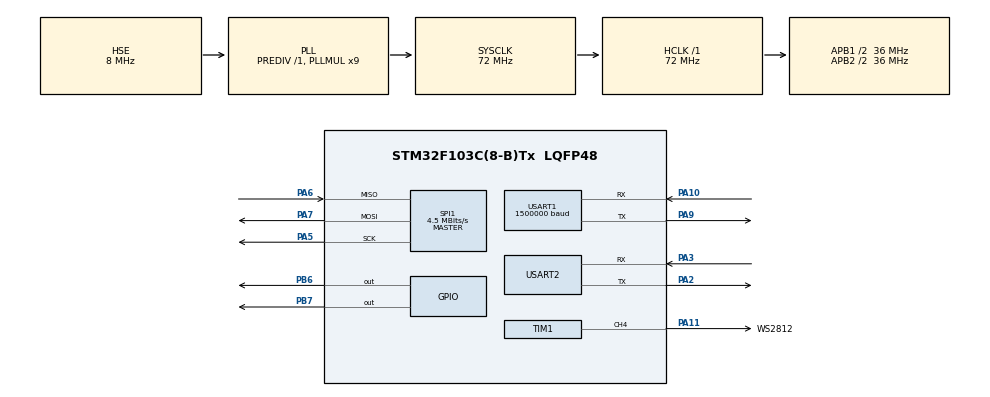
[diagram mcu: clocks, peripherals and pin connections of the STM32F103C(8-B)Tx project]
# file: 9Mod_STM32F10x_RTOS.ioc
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Dma.Request0=USART2_RX
Dma.Request1=TIM1_CH4/TRIG/COM
Dma.TIM1_CH4/TRIG/COM.1.Direction=DMA_MEMORY_TO_PERIPH
Dma.TIM1_CH4/TRIG/COM.1.Instance=DMA1_Channel4
Dma.TIM1_CH4/TRIG/COM.1.MemDataAlignment=DMA_MDATAALIGN_HALFWORD
Dma.TIM1_CH4/TRIG/COM.1.MemInc=DMA_MINC_ENABLE
Dma.TIM1_CH4/TRIG/COM.1.Mode=DMA_NORMAL
Dma.TIM1_CH4/TRIG/COM.1.PeriphDataAlignment=DMA_PDATAALIGN_HALFWORD
Dma.TIM1_CH4/TRIG/COM.1.PeriphInc=DMA_PINC_DISABLE
Dma.TIM1_CH4/TRIG/COM.1.Priority=DMA_PRIORITY_LOW
Dma.USART2_RX.0.Direction=DMA_PERIPH_TO_MEMORY
Dma.USART2_RX.0.Instance=DMA1_Channel6
Dma.USART2_RX.0.MemDataAlignment=DMA_MDATAALIGN_BYTE
Dma.USART2_RX.0.MemInc=DMA_MINC_ENABLE
Dma.USART2_RX.0.Mode=DMA_NORMAL
Dma.USART2_RX.0.PeriphDataAlignment=DMA_PDATAALIGN_BYTE
Dma.USART2_RX.0.PeriphInc=DMA_PINC_DISABLE
Dma.USART2_RX.0.Priority=DMA_PRIORITY_LOW
FREERTOS.Tasks01=defaultTask,24,256,StartDefaultTask,Default,NULL,Dynamic,NULL,NULL;sht3x_read,25,256,sht3x_read_task,Default,NULL,Dynamic,NULL,NULL
FREERTOS.configENABLE_FPU=1
FREERTOS.configMINIMAL_STACK_SIZE=128
FREERTOS.configTOTAL_HEAP_SIZE=4096
Mcu.Family=STM32F1
Mcu.Name=STM32F103C(8-B)Tx
Mcu.Package=LQFP48
NVIC.DMA1_Channel4_IRQn=true\:5\:0\:false\:false\:true\:true\:false\:true\:true
NVIC.DMA1_Channel6_IRQn=true\:5\:0\:false\:false\:true\:true\:false\:true\:true
NVIC.PriorityGroup=NVIC_PRIORITYGROUP_4
NVIC.TIM4_IRQn=true\:15\:0\:false\:false\:true\:false\:false\:true\:true
NVIC.TimeBase=TIM4_IRQn
NVIC.TimeBaseIP=TIM4
NVIC.USART2_IRQn=true\:5\:0\:false\:false\:true\:true\:true\:true\:true
PA10.Mode=Asynchronous
PA10.Signal=USART1_RX
PA11.GPIO_Label=WS2812
PA11.Signal=S_TIM1_CH4
PA13.Mode=Serial_Wire
PA13.Signal=SYS_JTMS-SWDIO
PA14.Mode=Serial_Wire
PA14.Signal=SYS_JTCK-SWCLK
PA2.Mode=Asynchronous
PA2.Signal=USART2_TX
PA3.Mode=Asynchronous
PA3.Signal=USART2_RX
PA5.Mode=Full_Duplex_Master
PA5.Signal=SPI1_SCK
PA6.Mode=Full_Duplex_Master
PA6.Signal=SPI1_MISO
PA7.Mode=Full_Duplex_Master
PA7.Signal=SPI1_MOSI
PA9.Mode=Asynchronous
PA9.Signal=USART1_TX
PB6.Signal=GPIO_Output
PB7.Signal=GPIO_Output
PD0-OSC_IN.Mode=HSE-External-Oscillator
PD0-OSC_IN.Signal=RCC_OSC_IN
PD1-OSC_OUT.Mode=HSE-External-Oscillator
PD1-OSC_OUT.Signal=RCC_OSC_OUT
ProjectManager.HeapSize=0x200
ProjectManager.StackSize=0x400
ProjectManager.TargetToolchain=CMake
RCC.AHBFreq_Value=72000000
RCC.APB1CLKDivider=RCC_HCLK_DIV2
RCC.APB1Freq_Value=36000000
RCC.APB1TimFreq_Value=72000000
RCC.APB2CLKDivider=RCC_HCLK_DIV2
RCC.APB2Freq_Value=36000000
RCC.APB2TimFreq_Value=72000000
RCC.HCLKFreq_Value=72000000
RCC.PLLMUL=RCC_PLL_MUL9
RCC.PLLSourceVirtual=RCC_PLLSOURCE_HSE
RCC.SYSCLKFreq_VALUE=72000000
RCC.SYSCLKSource=RCC_SYSCLKSOURCE_PLLCLK
RCC.USBFreq_Value=72000000
SH.S_TIM1_CH4.0=TIM1_CH4,PWM Generation4 CH4
SPI1.BaudRatePrescaler=SPI_BAUDRATEPRESCALER_8
SPI1.CalculateBaudRate=4.5 MBits/s
SPI1.Direction=SPI_DIRECTION_2LINES
SPI1.Mode=SPI_MODE_MASTER
SPI1.VirtualType=VM_MASTER
TIM1.Channel-PWM\ Generation4\ CH4=TIM_CHANNEL_4
USART1.BaudRate=1500000
USART1.VirtualMode=VM_ASYNC
USART2.VirtualMode=VM_ASYNC
VP_FREERTOS_VS_CMSIS_V2.Mode=CMSIS_V2
VP_SYS_VS_tim4.Mode=TIM4
board=custom

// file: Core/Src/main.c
/* USER CODE BEGIN Header */
/**
 ******************************************************************************
 * @file           : main.c
 * @brief          : Main program body
 ******************************************************************************
 * @attention
 *
 * Copyright (c) 2026 STMicroelectronics.
 * All rights reserved.
 *
 * This software is licensed under terms that can be found in the LICENSE file
 * in the root directory of this software component.
 * If no LICENSE file comes with this software, it is provided AS-IS.
 *
 ******************************************************************************
 */
/* USER CODE END Header */
#include "main.h"
#include "cmsis_os.h"
#include "dma.h"
#include "spi.h"
#include "tim.h"
#include "usart.h"
#include "gpio.h"

/* USER CODE BEGIN Includes */
#include "emMCP.h"
/* USER CODE END Includes */

void SystemClock_Config(void);
void MX_FREERTOS_Init(void);

int main(void)
{

  /* MCU Configuration--------------------------------------------------------*/

  /* Reset of all peripherals, Initializes the Flash interface and the Systick. */
  HAL_Init();

  /* Configure the system clock */
  SystemClock_Config();

  /* Initialize all configured peripherals */
  MX_GPIO_Init();
  MX_DMA_Init();
  MX_SPI1_Init();
  MX_USART1_UART_Init();
  MX_USART2_UART_Init();
  MX_TIM1_Init();
  /* USER CODE BEGIN 2 */

  emMCP_log_info("system start");
  /* USER CODE END 2 */

  /* Init scheduler */
  osKernelInitialize();  /* Call init function for freertos objects (in cmsis_os2.c) */
  MX_FREERTOS_Init();

  /* Start scheduler */
  osKernelStart();

  /* We should never get here as control is now taken by the scheduler */

  /* Infinite loop */
  while (1) {

  }
}

void SystemClock_Config(void)
{
  RCC_OscInitTypeDef RCC_OscInitStruct = {0};
  RCC_ClkInitTypeDef RCC_ClkInitStruct = {0};

  /** Initializes the RCC Oscillators according to the specified parameters
  * in the RCC_OscInitTypeDef structure.
  */
  RCC_OscInitStruct.OscillatorType = RCC_OSCILLATORTYPE_HSE;
  RCC_OscInitStruct.HSEState = RCC_HSE_ON;
  RCC_OscInitStruct.HSEPredivValue = RCC_HSE_PREDIV_DIV1;
  RCC_OscInitStruct.HSIState = RCC_HSI_ON;
  RCC_OscInitStruct.PLL.PLLState = RCC_PLL_ON;
  RCC_OscInitStruct.PLL.PLLSource = RCC_PLLSOURCE_HSE;
  RCC_OscInitStruct.PLL.PLLMUL = RCC_PLL_MUL9;
  if (HAL_RCC_OscConfig(&RCC_OscInitStruct) != HAL_OK)
  {
    Error_Handler();
  }

  /** Initializes the CPU, AHB and APB buses clocks
  */
  RCC_ClkInitStruct.ClockType = RCC_CLOCKTYPE_HCLK|RCC_CLOCKTYPE_SYSCLK
                              |RCC_CLOCKTYPE_PCLK1|RCC_CLOCKTYPE_PCLK2;
  RCC_ClkInitStruct.SYSCLKSource = RCC_SYSCLKSOURCE_PLLCLK;
  RCC_ClkInitStruct.AHBCLKDivider = RCC_SYSCLK_DIV1;
  RCC_ClkInitStruct.APB1CLKDivider = RCC_HCLK_DIV2;
  RCC_ClkInitStruct.APB2CLKDivider = RCC_HCLK_DIV2;

  if (HAL_RCC_ClockConfig(&RCC_ClkInitStruct, FLASH_LATENCY_2) != HAL_OK)
  {
    Error_Handler();
  }
}

void HAL_TIM_PeriodElapsedCallback(TIM_HandleTypeDef *htim)
{
  if (htim->Instance == TIM4)
  {
    HAL_IncTick();
  }
}

void Error_Handler(void)
{
  __disable_irq();
  while (1) {
  }
}
#ifdef USE_FULL_ASSERT
/**
  * @brief  Reports the name of the source file and the source line number
  *         where the assert_param error has occurred.
  * @param  file: pointer to the source file name
  * @param  line: assert_param error line source number
  * @retval None
  */
void assert_failed(uint8_t *file, uint32_t line)
{
  /* USER CODE BEGIN 6 */
  /* User can add his own implementation to report the file name and line
     number, ex: printf("Wrong parameters value: file %s on line %d\r\n", file,
     line) */
  /* USER CODE END 6 */
}
#endif /* USE_FULL_ASSERT */

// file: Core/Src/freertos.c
/* USER CODE BEGIN Header */
/**
 ******************************************************************************
 * File Name          : freertos.c
 * Description        : Code for freertos applications
 ******************************************************************************
 * @attention
 *
 * Copyright (c) 2026 STMicroelectronics.
 * All rights reserved.
 *
 * This software is licensed under terms that can be found in the LICENSE file
 * in the root directory of this software component.
 * If no LICENSE file comes with this software, it is provided AS-IS.
 *
 ******************************************************************************
 */
/* USER CODE END Header */

#include "FreeRTOS.h"
#include "task.h"
#include "main.h"
#include "cmsis_os.h"

/* USER CODE BEGIN Includes */
#include "axk_ch224.h"
#include "axk_sht3x.h"
#include "emMCP.h"
#include "uartPort.h"
#include "usart.h"
#include <stdint.h>

/* USER CODE END Includes */

/* USER CODE BEGIN PD */
#define RXBUFFSER_MAX_SIZE 256
/* USER CODE END PD */

/* Definitions for defaultTask */
osThreadId_t defaultTaskHandle;
const osThreadAttr_t defaultTask_attributes = {
  .name = "defaultTask",
  .stack_size = 256 * 4,
  .priority = (osPriority_t) osPriorityNormal,
};
/* Definitions for sht3x_read */
osThreadId_t sht3x_readHandle;
const osThreadAttr_t sht3x_read_attributes = {
  .name = "sht3x_read",
  .stack_size = 256 * 4,
  .priority = (osPriority_t) osPriorityNormal1,
};

/* USER CODE BEGIN FunctionPrototypes */
uint8_t rxBuffer[RXBUFFSER_MAX_SIZE] = {0};
emMCP_t emMCP;
bool sht30_is_init = false;
bool ch224_is_init = false;
void HAL_UARTEx_RxEventCallback(UART_HandleTypeDef *huart, uint16_t Size) {
  if (huart == &huart2) {
    uartPortRecvData((char *)rxBuffer, Size);

    HAL_UARTEx_ReceiveToIdle_DMA(&huart2, rxBuffer, RXBUFFSER_MAX_SIZE);
    __HAL_DMA_DISABLE_IT(huart2.hdmarx, DMA_IT_HT);
  }
}

/* USER CODE END FunctionPrototypes */

void StartDefaultTask(void *argument);
void sht3x_read_task(void *argument);

void MX_FREERTOS_Init(void); /* (MISRA C 2004 rule 8.1) */

void MX_FREERTOS_Init(void) {

  /* Create the thread(s) */
  /* creation of defaultTask */
  defaultTaskHandle = osThreadNew(StartDefaultTask, NULL, &defaultTask_attributes);

  /* creation of sht3x_read */
  sht3x_readHandle = osThreadNew(sht3x_read_task, NULL, &sht3x_read_attributes);

}

void StartDefaultTask(void *argument)
{
  /* USER CODE BEGIN StartDefaultTask */
  /* Infinite loop */
  HAL_UARTEx_ReceiveToIdle_DMA(&huart2, (uint8_t *)rxBuffer, sizeof(rxBuffer));
  __HAL_DMA_DISABLE_IT(huart2.hdmarx, DMA_IT_HT);
  emMCP_Init(&emMCP);
  for (;;) {
    // osDelay(1);
    emMCP_TickHandle(pdMS_TO_TICKS(100));
  }
  /* USER CODE END StartDefaultTask */
}

void sht3x_read_task(void *argument)
{
  /* USER CODE BEGIN sht3x_read_task */
  /* Infinite loop */

  uint8_t res = axk_sht3x_init();
  if (res != 0) {
    log_error("sht3x not driver");
    sht30_is_init = false;
  } else {
    sht30_is_init = true;
    log_info("sht3x init OK!");
  }

  res = axk_ch224_init();
  if (res != 0) {
    log_error("ch224 not driver");
    ch224_is_init = false;
  } else {
    ch224_is_init = true;
    log_info("ch224 init OK!");
  }

  int ch224_status = axk_ch224_get_status(AXK_CH224_REG_STATUS);

  if (ch224_status < 0) {
    log_error("ch224 status error: %d", ch224_status);
  } else
    log_info("ch224 status: 0x%02X", ch224_status);

  // 设置CH224输出电压为5V
  ch224_status = axk_ch224_set_avs_vout(18.0);
  if (ch224_status < 0) {
    log_error("ch224 set vout error: %d", ch224_status);
  } else {
    log_info("ch224 set avs vout: 29.5V");
    axk_ch224_set_mode(AXK_CH224_VOUT_AVS);
  }

  double temperature = 0.0;
  double humidity = 0.0;
  for (;;) {

    osDelay(pdMS_TO_TICKS(1000));
    if (!sht30_is_init) {
      continue;
    }
    res = axk_sht3x_read(0x2c06, &temperature, &humidity);
    if (res != 0) {
      log_error("sht3x read error: %d", res);
      continue;
    }
    log_info("sht30: %0.2d C,%0.2d %%", (uint8_t)temperature,
             (uint8_t)humidity);
  }
  /* USER CODE END sht3x_read_task */
}
